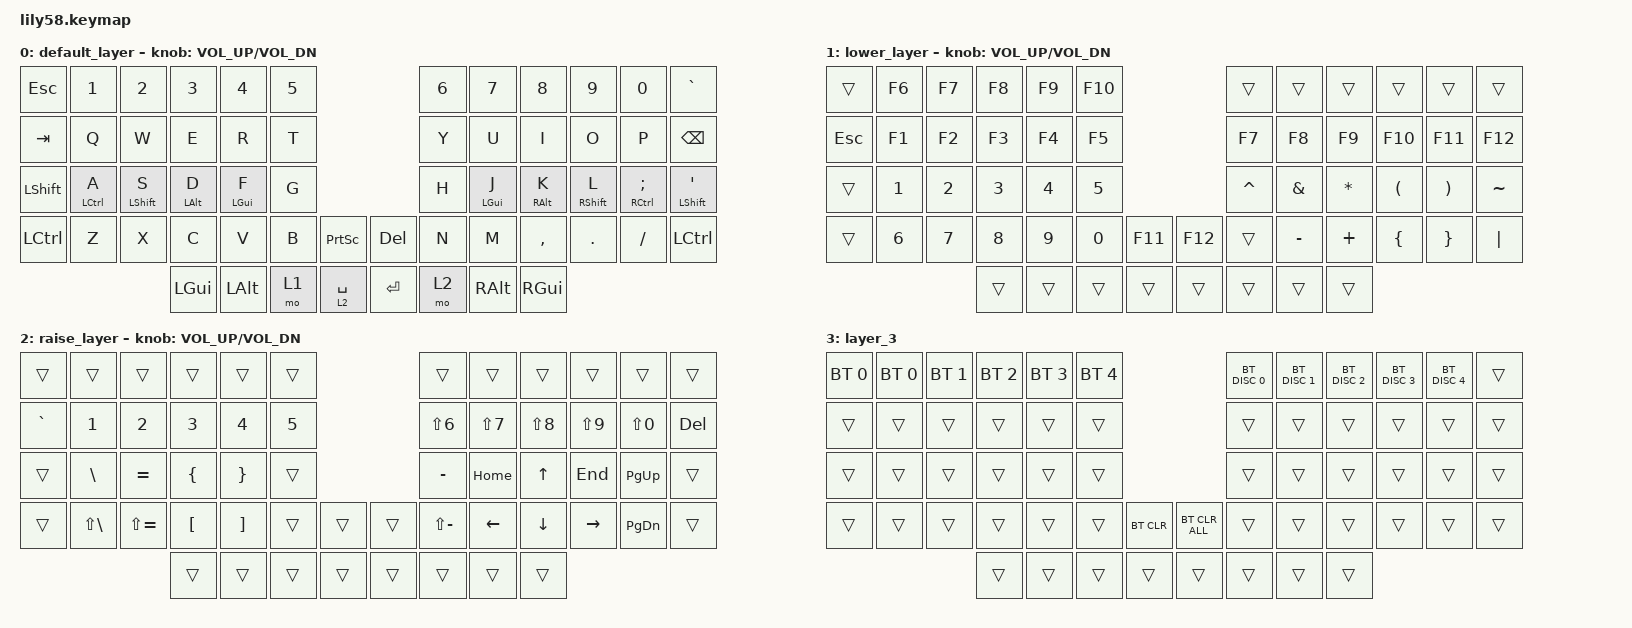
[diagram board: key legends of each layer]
/*
 * Copyright (c) 2020 The ZMK Contributors
 *
 * SPDX-License-Identifier: MIT
 */

#include <behaviors.dtsi>
#include <dt-bindings/zmk/bt.h>
#include <dt-bindings/zmk/keys.h>

/ {
    keymap {
        compatible = "zmk,keymap";

        default_layer {
            bindings = <
&kp ESC           &kp N1              &kp N2            &kp N3          &kp N4          &kp N5                              &kp N6  &kp N7          &kp N8           &kp N9             &kp N0                  &kp GRAVE
&kp TAB           &kp Q               &kp W             &kp E           &kp R           &kp T                               &kp Y   &kp U           &kp I            &kp O              &kp P                   &kp BACKSPACE
&kp LEFT_SHIFT    &mt LEFT_CONTROL A  &mt LEFT_SHIFT S  &mt LEFT_ALT D  &mt LEFT_GUI F  &kp G                               &kp H   &mt LEFT_GUI J  &mt RIGHT_ALT K  &mt RIGHT_SHIFT L  &mt RIGHT_CONTROL SEMI  &mt LEFT_SHIFT SQT
&kp LEFT_CONTROL  &kp Z               &kp X             &kp C           &kp V           &kp B   &kp PRINTSCREEN    &kp DEL  &kp N   &kp M           &kp COMMA        &kp DOT            &kp FSLH                &kp LEFT_CONTROL
                                                        &kp LEFT_GUI    &kp LEFT_ALT    &mo 1   &lt 2 SPACE        &kp RET  &mo 2   &kp RIGHT_ALT   &kp RGUI
            >;

            sensor-bindings = <&inc_dec_kp C_VOL_UP C_VOL_DN>;
        };

        lower_layer {
            bindings = <
&trans      &kp F6        &kp F7        &kp F8        &kp F9        &kp F10                           &trans     &trans     &trans     &trans    &trans    &trans
&kp ESCAPE  &kp F1        &kp F2        &kp F3        &kp F4        &kp F5                            &kp F7     &kp F8     &kp F9     &kp F10   &kp F11   &kp F12
&trans      &kp NUMBER_1  &kp NUMBER_2  &kp NUMBER_3  &kp NUMBER_4  &kp NUMBER_5                      &kp CARET  &kp AMPS   &kp ASTRK  &kp LPAR  &kp RPAR  &kp TILDE
&trans      &kp NUMBER_6  &kp N7        &kp NUMBER_8  &kp NUMBER_9  &kp NUMBER_0  &kp F11    &kp F12  &trans     &kp MINUS  &kp PLUS   &kp LBRC  &kp RBRC  &kp PIPE
                                        &trans        &trans        &trans        &trans     &trans   &trans     &trans     &trans
            >;

            sensor-bindings = <&inc_dec_kp C_VOL_UP C_VOL_DN>;
        };

        raise_layer {
            bindings = <
&trans     &trans             &trans         &trans            &trans             &trans                    &trans         &trans          &trans        &trans      &trans         &trans
&kp GRAVE  &kp N1             &kp N2         &kp N3            &kp N4             &kp N5                    &kp LS(N6)     &kp LS(N7)      &kp LS(N8)    &kp LS(N9)  &kp LS(N0)     &kp DELETE
&trans     &kp BACKSLASH      &kp EQUAL      &kp LEFT_BRACE    &kp RIGHT_BRACE    &trans                    &kp MINUS      &kp HOME        &kp UP_ARROW  &kp END     &kp PAGE_UP    &trans
&trans     &kp LS(BACKSLASH)  &kp LS(EQUAL)  &kp LEFT_BRACKET  &kp RIGHT_BRACKET  &trans  &trans    &trans  &kp LS(MINUS)  &kp LEFT_ARROW  &kp DOWN      &kp RIGHT   &kp PAGE_DOWN  &trans
                                             &trans            &trans             &trans  &trans    &trans  &trans         &trans          &trans
            >;

            sensor-bindings = <&inc_dec_kp C_VOL_UP C_VOL_DN>;
        };

        layer_3 {
            bindings = <
&bt BT_SEL 0  &bt BT_SEL 0  &bt BT_SEL 1  &bt BT_SEL 2  &bt BT_SEL 3  &bt BT_SEL 4                                &bt BT_DISC 0  &bt BT_DISC 1  &bt BT_DISC 2  &bt BT_DISC 3  &bt BT_DISC 4  &trans
&trans        &trans        &trans        &trans        &trans        &trans                                      &trans         &trans         &trans         &trans         &trans         &trans
&trans        &trans        &trans        &trans        &trans        &trans                                      &trans         &trans         &trans         &trans         &trans         &trans
&trans        &trans        &trans        &trans        &trans        &trans        &bt BT_CLR    &bt BT_CLR_ALL  &trans         &trans         &trans         &trans         &trans         &trans
                                          &trans        &trans        &trans        &trans        &trans          &trans         &trans         &trans
            >;
        };
    };
};

/ {
    conditional_layers { compatible = "zmk,conditional-layers"; };
};

/ {
    conditional_layers {
        compatible = "zmk,conditional-layers";

        tri_layer {
            if-layers = <1 2>;
            then-layer = <3>;
        };
    };
};

/ {
    combos {
        compatible = "zmk,combos";

        combo_esc {
            timeout-ms = <100>;
            key-positions = <27 28>;
            bindings = <&kp RET>;
        };
    };
};

&mt {
    tapping-term-ms = <250>;
    flavor = "tap-preferred";
    require-prior-idle-ms = <180>;
};
